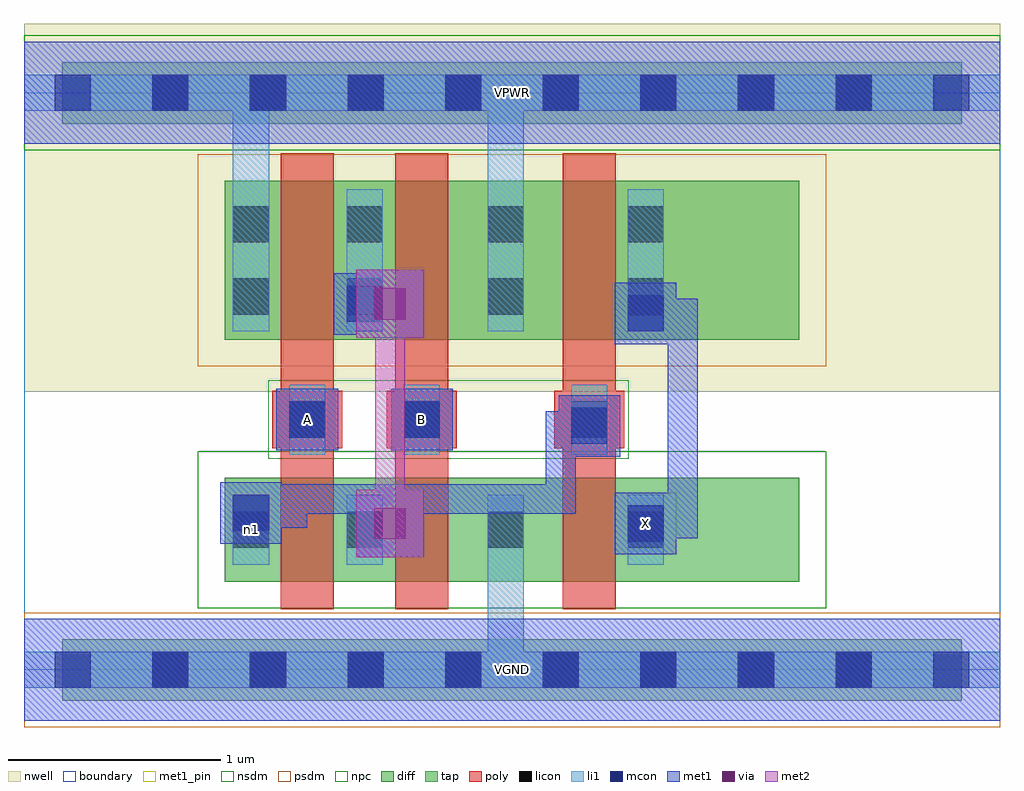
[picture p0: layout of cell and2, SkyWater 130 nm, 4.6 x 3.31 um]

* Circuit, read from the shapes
.subckt and2 A B VGND VPWR X n1
XM1 n2 A n1 VGND sky130_fd_pr__nfet_01v8 w=0.49 l=0.25
XM2 VGND B n2 VGND sky130_fd_pr__nfet_01v8 w=0.49 l=0.25
XM3 X n1 VGND VGND sky130_fd_pr__nfet_01v8 w=0.49 l=0.25
XM4 n1 A VPWR VPWR sky130_fd_pr__pfet_01v8 w=0.75 l=0.25
XM5 VPWR B n1 VPWR sky130_fd_pr__pfet_01v8 w=0.75 l=0.25
XM6 X n1 VPWR VPWR sky130_fd_pr__pfet_01v8 w=0.75 l=0.25
.ends

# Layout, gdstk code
import gdstk
lib = gdstk.Library(unit=1e-6, precision=1e-09)
def R(c, l, rs):  # rectangles x0, y0, x1, y1
    for r in rs: c.add(gdstk.rectangle(r[:2], r[2:], *l))
def A(c, l, x, y, w, h, nx, ny, dx, dy):  # array of equal rectangles
    R(c, l, [(x+i*dx, y+j*dy, x+i*dx+w, y+j*dy+h) for i in range(nx) for j in range(ny)])
nwell = (64, 20)
diff = (65, 20)
tap = (65, 44)
poly = (66, 20)
licon = (66, 44)
li1 = (67, 20)
mcon = (67, 44)
met1_pin = (68, 16)
met1 = (68, 20)
via = (68, 44)
met2 = (69, 20)
nsdm = (93, 44)
psdm = (94, 20)
npc = (95, 20)
boundary = (235, 4)

and2 = lib.new_cell('and2')
R(and2, nwell, [(0,1.31,4.6,3.045)])
R(and2, diff, [(0.945,0.415,3.655,0.905), (0.945,1.555,3.655,2.305)])
R(and2, tap, [(0.18,-0.145,4.42,0.145), (0.18,2.575,4.42,2.865)])
R(and2, poly, [(1.21,0.285,1.46,2.435), (1.75,0.285,2,2.435), (2.54,0.285,2.79,2.435), (1.17,1.045,1.5,1.315), (1.71,1.045,2.04,1.315), (2.5,1.045,2.83,1.315)])
A(and2, licon, 0.605, -0.085, 0.17, 0.17, 8, 2, 0.46, 2.72)
R(and2, licon, [(0.985,0.575,1.155,0.745), (1.52,0.575,1.69,0.745), (2.185,0.575,2.355,0.745), (2.845,0.575,3.015,0.745), (1.25,1.095,1.42,1.265), (1.79,1.095,1.96,1.265), (2.58,1.095,2.75,1.265), (0.985,1.675,1.155,1.845), (1.52,1.675,1.69,1.845), (2.185,1.675,2.355,1.845), (2.845,1.675,3.015,1.845), (0.985,2.015,1.155,2.185), (1.52,2.015,1.69,2.185), (2.185,2.015,2.355,2.185), (2.845,2.015,3.015,2.185)])
R(and2, li1, [(0,-0.085,4.6,0.085), (2.185,-0.085,2.355,0.825), (0.985,0.495,1.155,0.825), (1.52,0.495,1.69,0.825), (2.185,0.495,2.355,0.825), (2.845,0.495,3.015,0.825), (1.25,1.015,1.42,1.345), (1.79,1.015,1.96,1.345), (2.58,1.015,2.75,1.345), (0.985,1.595,1.155,2.265), (0.985,1.595,1.155,2.805), (1.52,1.595,1.69,2.265), (2.185,1.595,2.355,2.265), (2.185,1.595,2.355,2.805), (2.845,1.595,3.015,2.265), (0,2.635,4.6,2.805)])
A(and2, mcon, 0.145, -0.085, 0.17, 0.17, 10, 2, 0.46, 2.72)
R(and2, mcon, [(2.845,0.605,3.015,0.775), (0.985,0.655,1.155,0.825), (2.58,1.065,2.75,1.235), (1.25,1.095,1.42,1.265), (1.79,1.095,1.96,1.265), (2.845,1.595,3.015,1.765), (1.52,1.64,1.69,1.81)])
R(and2, met1_pin, [(0,-0.24,4.6,0.24), (2.785,0.545,3.075,0.835), (1.19,1.035,1.48,1.325), (1.73,1.035,2.02,1.325), (0,2.48,4.6,2.96)])
R(and2, met1, [(0,-0.24,4.6,0.24), (1.565,0.53,1.885,0.85), (2.785,0.545,3.075,0.835), (0.925,0.595,1.215,0.885), (1.655,0.62,1.795,0.875), (2.86,0.62,3.175,0.76), (3.035,0.62,3.175,1.565), (1,0.67,1.335,0.81), (1.195,0.67,1.335,0.875), (1.195,0.735,2.6,0.875), (2.46,0.735,2.6,1.22), (2.52,1.005,2.81,1.295), (1.19,1.035,1.48,1.325), (1.73,1.035,2.02,1.325), (2.46,1.08,2.735,1.22), (3.035,1.425,3.175,1.75), (2.785,1.535,3.075,1.825), (1.565,1.565,1.885,1.885), (1.46,1.58,1.75,1.87), (2.86,1.61,3.175,1.75), (1.535,1.655,1.795,1.795), (0,2.48,4.6,2.96)])
R(and2, via, [(1.65,0.615,1.8,0.765), (1.65,1.65,1.8,1.8)])
R(and2, met2, [(1.565,0.53,1.885,0.85), (1.655,0.62,1.795,1.795), (1.565,1.565,1.885,1.885)])
R(and2, nsdm, [(0.82,0.29,3.78,1.03), (0,2.45,4.6,2.99)])
R(and2, psdm, [(0,-0.27,4.6,0.27), (0.82,1.43,3.78,2.43)])
R(and2, npc, [(1.15,0.995,2.85,1.365)])
R(and2, boundary, [(0,0,4.6,2.72)])
and2.add(gdstk.Label('n1', (1.07,0.66), layer=67, texttype=5))
and2.add(gdstk.Label('A', (1.335,1.18), layer=68, texttype=5))
and2.add(gdstk.Label('B', (1.875,1.18), layer=68, texttype=5))
and2.add(gdstk.Label('X', (2.93,0.69), layer=68, texttype=5))
and2.add(gdstk.Label('VPWR', (2.3,2.72), layer=68, texttype=5))
and2.add(gdstk.Label('VGND', (2.3,0), layer=68, texttype=5))
and2.add(gdstk.Label('A', (1.335,1.18), layer=68, texttype=16))
and2.add(gdstk.Label('B', (1.875,1.18), layer=68, texttype=16))
and2.add(gdstk.Label('X', (2.93,0.69), layer=68, texttype=16))
and2.add(gdstk.Label('VPWR', (2.3,2.72), layer=68, texttype=16))
and2.add(gdstk.Label('VGND', (2.3,0), layer=68, texttype=16))

lib.write_gds('and2.gds')
